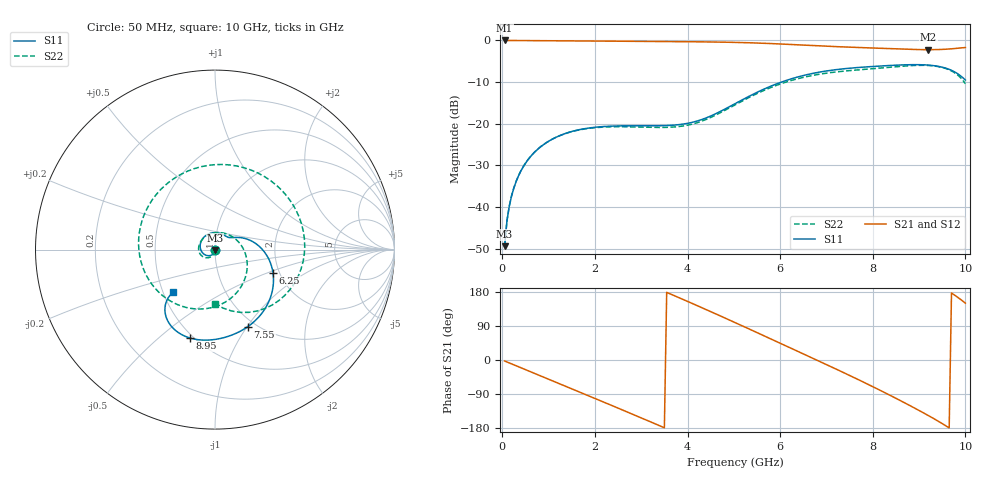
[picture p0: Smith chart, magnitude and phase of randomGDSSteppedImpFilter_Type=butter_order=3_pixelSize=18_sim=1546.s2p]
! freq	dB(S11)	phase(S11)	dB(S12)	phase(S12)
!  dB(S21)	phase(S21)	dB(S22)	phase(S22)
!S-par simulation data
#  GHz  S  DB  R 50
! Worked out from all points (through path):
!   200 points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, 50 MHz to 10 GHz, reference 50 ohm
!   highest |S21| = -0.01 dB at 50 MHz (marker M1); lowest = -2.2 dB at 9.2 GHz (marker M2)
!   group delay of S21, straight-line fit = 154 ps
!   lowest |S11| = -49.4 dB at 50 MHz (marker M3), VSWR 1.01, Z = 50 - j0.338 ohm
!   |S11| at or under -10 dB: start of sweep to 6.028 GHz
!   |S22| runs from -49.4 to -6.0 dB; largest |S21 - S12| = 0
!   S11 on the Smith chart (normalised r, x): 50 MHz: 1.00, -0.01; 6.25 GHz: 1.85, -0.54; 7.55 GHz: 0.92, -1.01; 8.95 GHz: 0.48, -0.64; 10 GHz: 0.56, -0.30
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0.05  -49.41 -91.6  -0.01 -2.6  -0.01 -2.6  -49.41 -90.7
0.1  -43.38 -95.1  -0.01 -5.1  -0.01 -5.1  -43.38 -93.2
0.2  -37.35 -101.3  -0.02 -10.2  -0.02 -10.2  -37.33 -97.6
0.5  -29.51 -119.7  -0.04 -25.4  -0.04 -25.4  -29.49 -110.8
1.15  -23.31 -160.2  -0.09 -58.3  -0.09 -58.3  -23.32 -138.6
1.75  -21.24 161.8  -0.13 -88.7  -0.13 -88.7  -21.31 -162.4
2.5  -20.53 113.6  -0.19 -127.0  -0.19 -127.0  -20.73 168.7
2.95  -20.50 86.1  -0.22 -150.2  -0.22 -150.2  -20.81 149.5
3.4  -20.49 62.8  -0.25 -173.6  -0.25 -173.6  -20.90 125.7
4.15  -19.53 39.4  -0.32 146.6  -0.32 146.6  -19.95 69.5
4.6  -17.65 31.2  -0.38 122.3  -0.38 122.3  -17.97 29.7
5.05  -15.04 20.7  -0.47 97.5  -0.47 97.5  -15.32 -8.2
5.6  -11.94 2.9  -0.66 66.8  -0.66 66.8  -12.24 -50.5
6.25  -9.19 -21.6  -0.98 30.2  -0.98 30.2  -9.59 -98.1
6.7  -7.93 -38.5  -1.23 4.9  -1.23 4.9  -8.40 -131.6
7.15  -7.10 -54.2  -1.46 -20.6  -1.46 -20.6  -7.64 -166.9
7.55  -6.62 -66.9  -1.64 -43.7  -1.64 -43.7  -7.20 159.4
8.35  -6.03 -89.2  -1.97 -91.7  -1.97 -91.7  -6.45 85.0
8.95  -5.82 -106.0  -2.19 -129.9  -2.19 -129.9  -5.99 26.6
9.2  -5.92 -113.7  -2.22 -146.6  -2.22 -146.6  -6.01 2.2
9.65  -6.95 -128.2  -2.06 -179.3  -2.06 -179.3  -7.06 -44.0
10  -9.51 -134.5  -1.70 150.0  -1.70 150.0  -10.41 -89.8
